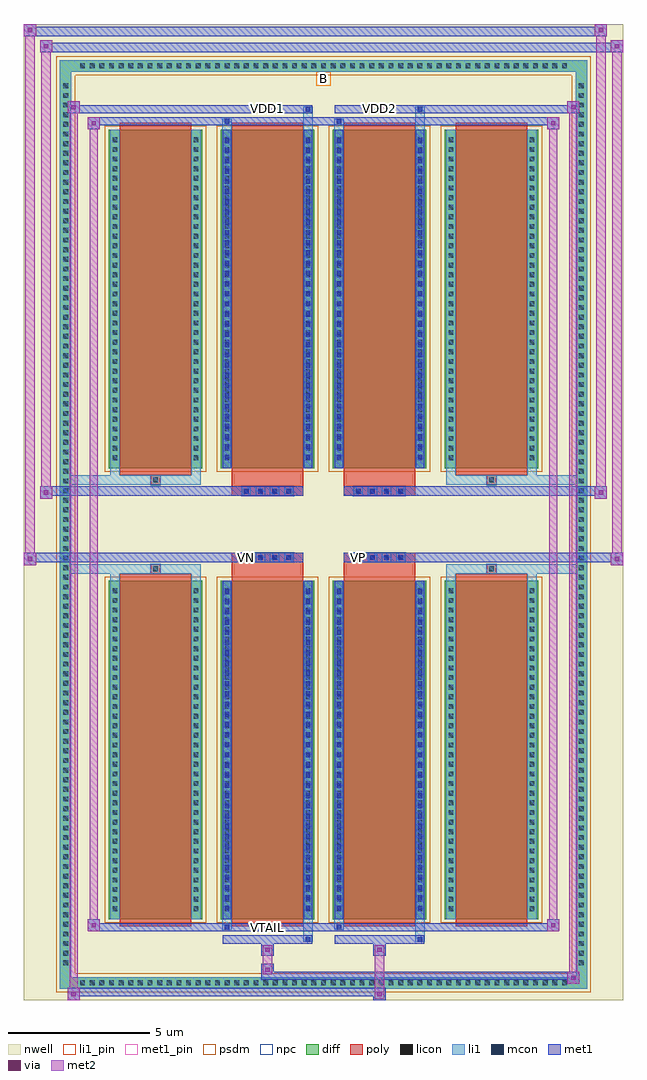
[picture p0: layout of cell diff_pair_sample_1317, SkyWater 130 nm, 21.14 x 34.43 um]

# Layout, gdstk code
import gdstk
lib = gdstk.Library(unit=1e-6, precision=5e-09)
def R(c, l, rs):  # rectangles x0, y0, x1, y1
    for r in rs: c.add(gdstk.rectangle(r[:2], r[2:], *l))
def A(c, l, x, y, w, h, nx, ny, dx, dy):  # array of equal rectangles
    R(c, l, [(x+i*dx, y+j*dy, x+i*dx+w, y+j*dy+h) for i in range(nx) for j in range(ny)])
def P(c, l, *ps):  # polygons
    for p in ps: c.add(gdstk.Polygon(p, *l))
nwell = (64, 20)
diff = (65, 20)
poly = (66, 20)
licon = (66, 44)
li1_pin = (67, 16)
li1 = (67, 20)
mcon = (67, 44)
met1_pin = (68, 16)
met1 = (68, 20)
via = (68, 44)
met2 = (69, 20)
psdm = (94, 20)
npc = (95, 20)

diff_pair_sample_1317 = lib.new_cell('diff_pair_sample_1317')
R(diff_pair_sample_1317, nwell, [(-10.57,-16.78,10.57,17.65), (-7.89,-14.97,-0.01,-0.805), (0.01,-14.97,7.89,-0.805), (-7.89,0.805,-0.01,14.97), (0.01,0.805,7.89,14.97)])
A(diff_pair_sample_1317, diff, -8.705, -16.38, 0.41, 0.41, 51, 2, 0.34, 32.35)
A(diff_pair_sample_1317, diff, -9.3, -15.675, 0.41, 0.41, 1, 92, 0, 0.34)
A(diff_pair_sample_1317, diff, 8.89, -15.675, 0.41, 0.41, 1, 92, 0, 0.34)
A(diff_pair_sample_1317, diff, -7.58, -13.925, 3.31, 11.94, 4, 2, 3.95, 15.91)
R(diff_pair_sample_1317, diff, [(-8.705,-16.38,8.705,-15.97), (-9.3,-15.675,-8.89,15.675), (8.89,-15.675,9.3,15.675), (-8.705,15.97,8.705,16.38)])
P(diff_pair_sample_1317, diff, [(9.3,16.38),(-9.3,16.38),(-9.3,-15.97),(-8.89,-15.97),(-8.89,15.97),(8.89,15.97),(8.89,-15.97),(-8.89,-15.97),(-9.3,-15.97),(-9.3,-16.38),(9.3,-16.38)])
A(diff_pair_sample_1317, poly, -7.19, -14.175, 2.53, 12.44, 4, 2, 3.95, 15.91)
A(diff_pair_sample_1317, poly, -2.89, -1.335, 0.33, 0.33, 4, 2, 0.5, 2.34)
A(diff_pair_sample_1317, poly, 1.06, -1.335, 0.33, 0.33, 4, 2, 0.5, 2.34)
R(diff_pair_sample_1317, poly, [(-6.09,-1.735,-5.76,-1.405), (-6.09,-1.735,-5.76,-1.405), (-3.24,-1.735,-0.71,-1.335), (0.71,-1.735,3.24,-1.335), (5.76,-1.735,6.09,-1.405), (5.76,-1.735,6.09,-1.405), (-3.24,-1.335,-0.71,-1.005), (0.71,-1.335,3.24,-1.005), (-3.24,1.005,-0.71,1.335), (0.71,1.005,3.24,1.335), (-3.24,1.335,-0.71,1.735), (0.71,1.335,3.24,1.735), (-6.09,1.405,-5.76,1.735), (-6.09,1.405,-5.76,1.735), (5.76,1.405,6.09,1.735), (5.76,1.405,6.09,1.735)])
A(diff_pair_sample_1317, licon, -8.585, -16.26, 0.17, 0.17, 51, 2, 0.34, 32.35)
A(diff_pair_sample_1317, licon, -9.18, -15.555, 0.17, 0.17, 1, 92, 0, 0.34)
A(diff_pair_sample_1317, licon, 9.01, -15.555, 0.17, 0.17, 1, 92, 0, 0.34)
A(diff_pair_sample_1317, licon, -7.44, -13.65, 0.17, 0.17, 1, 34, 0, 0.34)
A(diff_pair_sample_1317, licon, -4.58, -13.65, 0.17, 0.17, 1, 34, 0, 0.34)
A(diff_pair_sample_1317, licon, -3.49, -13.65, 0.17, 0.17, 1, 34, 0, 0.34)
A(diff_pair_sample_1317, licon, -0.63, -13.65, 0.17, 0.17, 1, 34, 0, 0.34)
A(diff_pair_sample_1317, licon, 0.46, -13.65, 0.17, 0.17, 1, 34, 0, 0.34)
A(diff_pair_sample_1317, licon, 3.32, -13.65, 0.17, 0.17, 1, 34, 0, 0.34)
A(diff_pair_sample_1317, licon, 4.41, -13.65, 0.17, 0.17, 1, 34, 0, 0.34)
A(diff_pair_sample_1317, licon, 7.27, -13.65, 0.17, 0.17, 1, 34, 0, 0.34)
A(diff_pair_sample_1317, licon, -2.81, -1.255, 0.17, 0.17, 4, 2, 0.5, 2.34)
A(diff_pair_sample_1317, licon, 1.14, -1.255, 0.17, 0.17, 4, 2, 0.5, 2.34)
A(diff_pair_sample_1317, licon, -7.44, 2.26, 0.17, 0.17, 1, 34, 0, 0.34)
A(diff_pair_sample_1317, licon, -4.58, 2.26, 0.17, 0.17, 1, 34, 0, 0.34)
A(diff_pair_sample_1317, licon, -3.49, 2.26, 0.17, 0.17, 1, 34, 0, 0.34)
A(diff_pair_sample_1317, licon, -0.63, 2.26, 0.17, 0.17, 1, 34, 0, 0.34)
A(diff_pair_sample_1317, licon, 0.46, 2.26, 0.17, 0.17, 1, 34, 0, 0.34)
A(diff_pair_sample_1317, licon, 3.32, 2.26, 0.17, 0.17, 1, 34, 0, 0.34)
A(diff_pair_sample_1317, licon, 4.41, 2.26, 0.17, 0.17, 1, 34, 0, 0.34)
A(diff_pair_sample_1317, licon, 7.27, 2.26, 0.17, 0.17, 1, 34, 0, 0.34)
R(diff_pair_sample_1317, licon, [(-6.01,-1.655,-5.84,-1.485), (5.84,-1.655,6.01,-1.485), (-6.01,1.485,-5.84,1.655), (5.84,1.485,6.01,1.655)])
R(diff_pair_sample_1317, li1_pin, [(-0.25,15.47,0.25,15.97)])
A(diff_pair_sample_1317, li1, -8.665, -16.34, 0.33, 0.33, 51, 2, 0.34, 32.35)
A(diff_pair_sample_1317, li1, -9.26, -15.635, 0.33, 0.33, 1, 92, 0, 0.34)
A(diff_pair_sample_1317, li1, 8.93, -15.635, 0.33, 0.33, 1, 92, 0, 0.34)
A(diff_pair_sample_1317, li1, -7.52, -13.73, 0.33, 0.33, 1, 34, 0, 0.34)
A(diff_pair_sample_1317, li1, -4.66, -13.73, 0.33, 0.33, 1, 34, 0, 0.34)
A(diff_pair_sample_1317, li1, -3.57, -13.73, 0.33, 0.33, 1, 34, 0, 0.34)
A(diff_pair_sample_1317, li1, -0.71, -13.73, 0.33, 0.33, 1, 34, 0, 0.34)
A(diff_pair_sample_1317, li1, 0.38, -13.73, 0.33, 0.33, 1, 34, 0, 0.34)
A(diff_pair_sample_1317, li1, 3.24, -13.73, 0.33, 0.33, 1, 34, 0, 0.34)
A(diff_pair_sample_1317, li1, 4.33, -13.73, 0.33, 0.33, 1, 34, 0, 0.34)
A(diff_pair_sample_1317, li1, 7.19, -13.73, 0.33, 0.33, 1, 34, 0, 0.34)
A(diff_pair_sample_1317, li1, -3.49, -13.62, 0.17, 0.17, 1, 32, 0, 0.36)
A(diff_pair_sample_1317, li1, -0.63, -13.62, 0.17, 0.17, 1, 32, 0, 0.36)
A(diff_pair_sample_1317, li1, 0.46, -13.62, 0.17, 0.17, 1, 32, 0, 0.36)
A(diff_pair_sample_1317, li1, 3.32, -13.62, 0.17, 0.17, 1, 32, 0, 0.36)
A(diff_pair_sample_1317, li1, -2.89, -1.335, 0.33, 0.33, 4, 2, 0.5, 2.34)
A(diff_pair_sample_1317, li1, 1.06, -1.335, 0.33, 0.33, 4, 2, 0.5, 2.34)
A(diff_pair_sample_1317, li1, -7.52, 2.18, 0.33, 0.33, 1, 34, 0, 0.34)
A(diff_pair_sample_1317, li1, -4.66, 2.18, 0.33, 0.33, 1, 34, 0, 0.34)
A(diff_pair_sample_1317, li1, -3.57, 2.18, 0.33, 0.33, 1, 34, 0, 0.34)
A(diff_pair_sample_1317, li1, -0.71, 2.18, 0.33, 0.33, 1, 34, 0, 0.34)
A(diff_pair_sample_1317, li1, 0.38, 2.18, 0.33, 0.33, 1, 34, 0, 0.34)
A(diff_pair_sample_1317, li1, 3.24, 2.18, 0.33, 0.33, 1, 34, 0, 0.34)
A(diff_pair_sample_1317, li1, 4.33, 2.18, 0.33, 0.33, 1, 34, 0, 0.34)
A(diff_pair_sample_1317, li1, 7.19, 2.18, 0.33, 0.33, 1, 34, 0, 0.34)
A(diff_pair_sample_1317, li1, -3.49, 2.29, 0.17, 0.17, 1, 32, 0, 0.36)
A(diff_pair_sample_1317, li1, -0.63, 2.29, 0.17, 0.17, 1, 32, 0, 0.36)
A(diff_pair_sample_1317, li1, 0.46, 2.29, 0.17, 0.17, 1, 32, 0, 0.36)
A(diff_pair_sample_1317, li1, 3.32, 2.29, 0.17, 0.17, 1, 32, 0, 0.36)
R(diff_pair_sample_1317, li1, [(-9.3,-16.38,-8.89,-15.97), (-9.3,-16.38,-8.89,-15.97), (-8.89,-16.38,8.89,-15.97), (8.89,-16.38,9.3,-15.97), (8.89,-16.38,9.3,-15.97), (-9.3,-15.97,-8.89,15.97), (8.89,-15.97,9.3,15.97), (-0.71,-14.73,-0.38,-13.925), (-0.63,-14.73,-0.46,-14.56), (3.24,-14.73,3.57,-13.925), (3.32,-14.73,3.49,-14.56), (-3.57,-14.3,-3.24,-13.925), (-3.49,-14.3,-3.32,-14.13), (0.38,-14.3,0.71,-13.925), (0.46,-14.3,0.63,-14.13), (-7.52,-13.925,-7.19,-1.985), (-4.66,-13.925,-4.33,-1.985), (-3.57,-13.925,-3.24,-1.985), (-0.71,-13.925,-0.38,-1.985), (0.38,-13.925,0.71,-1.985), (3.24,-13.925,3.57,-1.985), (4.33,-13.925,4.66,-1.985), (7.19,-13.925,7.52,-1.985), (-3.49,-13.62,-3.32,-2.29), (-0.63,-13.62,-0.46,-2.29), (0.46,-13.62,0.63,-2.29), (3.32,-13.62,3.49,-2.29), (-7.52,-1.985,-7.19,-1.405), (-4.66,-1.985,-4.33,-1.405), (4.33,-1.985,4.66,-1.405), (7.19,-1.985,7.52,-1.405), (-9.3,-1.735,-6.09,-1.405), (-7.52,-1.735,-6.09,-1.405), (-6.09,-1.735,-5.76,-1.405), (-5.76,-1.735,-4.33,-1.405), (4.33,-1.735,5.76,-1.405), (5.76,-1.735,6.09,-1.405), (5.76,-1.735,9.3,-1.405), (6.09,-1.735,7.52,-1.405), (-9.3,1.405,-6.09,1.735), (-7.52,1.405,-6.09,1.735), (-7.52,1.405,-7.19,1.985), (-6.09,1.405,-5.76,1.735), (-5.76,1.405,-4.33,1.735), (-4.66,1.405,-4.33,1.985), (4.33,1.405,5.76,1.735), (4.33,1.405,4.66,1.985), (5.76,1.405,6.09,1.735), (5.76,1.405,9.3,1.735), (6.09,1.405,7.52,1.735), (7.19,1.405,7.52,1.985), (-7.52,1.985,-7.19,13.925), (-4.66,1.985,-4.33,13.925), (-3.57,1.985,-3.24,13.925), (-0.71,1.985,-0.38,13.925), (0.38,1.985,0.71,13.925), (3.24,1.985,3.57,13.925), (4.33,1.985,4.66,13.925), (7.19,1.985,7.52,13.925), (-3.49,2.29,-3.32,13.62), (-0.63,2.29,-0.46,13.62), (0.46,2.29,0.63,13.62), (3.32,2.29,3.49,13.62), (-3.57,13.925,-3.24,14.3), (-0.71,13.925,-0.38,14.73), (0.38,13.925,0.71,14.3), (3.24,13.925,3.57,14.73), (-3.49,14.13,-3.32,14.3), (0.46,14.13,0.63,14.3), (-0.63,14.56,-0.46,14.73), (3.32,14.56,3.49,14.73), (-9.3,15.97,-8.89,16.38), (-9.3,15.97,-8.89,16.38), (-8.89,15.97,8.89,16.38), (8.89,15.97,9.3,16.38), (8.89,15.97,9.3,16.38)])
A(diff_pair_sample_1317, mcon, -3.49, -13.62, 0.17, 0.17, 1, 32, 0, 0.36)
A(diff_pair_sample_1317, mcon, -0.63, -13.62, 0.17, 0.17, 1, 32, 0, 0.36)
A(diff_pair_sample_1317, mcon, 0.46, -13.62, 0.17, 0.17, 1, 32, 0, 0.36)
A(diff_pair_sample_1317, mcon, 3.32, -13.62, 0.17, 0.17, 1, 32, 0, 0.36)
A(diff_pair_sample_1317, mcon, -2.81, -1.255, 0.17, 0.17, 4, 2, 0.5, 2.34)
A(diff_pair_sample_1317, mcon, 1.14, -1.255, 0.17, 0.17, 4, 2, 0.5, 2.34)
A(diff_pair_sample_1317, mcon, -3.49, 2.29, 0.17, 0.17, 1, 32, 0, 0.36)
A(diff_pair_sample_1317, mcon, -0.63, 2.29, 0.17, 0.17, 1, 32, 0, 0.36)
A(diff_pair_sample_1317, mcon, 0.46, 2.29, 0.17, 0.17, 1, 32, 0, 0.36)
A(diff_pair_sample_1317, mcon, 3.32, 2.29, 0.17, 0.17, 1, 32, 0, 0.36)
R(diff_pair_sample_1317, mcon, [(-0.63,-14.73,-0.46,-14.56), (3.32,-14.73,3.49,-14.56), (-3.49,-14.3,-3.32,-14.13), (0.46,-14.3,0.63,-14.13), (-3.49,14.13,-3.32,14.3), (0.46,14.13,0.63,14.3), (-0.63,14.56,-0.46,14.73), (3.32,14.56,3.49,14.73)])
R(diff_pair_sample_1317, met1_pin, [(-2.11,-14.34,-1.84,-14.07), (-2.86,-1.295,-2.59,-1.025), (1.09,-1.295,1.36,-1.025), (-2.11,14.52,-1.84,14.79), (1.84,14.52,2.11,14.79)])
A(diff_pair_sample_1317, met1, -3.55, -13.68, 0.29, 0.29, 1, 32, 0, 0.36)
A(diff_pair_sample_1317, met1, -0.69, -13.68, 0.29, 0.29, 1, 32, 0, 0.36)
A(diff_pair_sample_1317, met1, 0.4, -13.68, 0.29, 0.29, 1, 32, 0, 0.36)
A(diff_pair_sample_1317, met1, 3.26, -13.68, 0.29, 0.29, 1, 32, 0, 0.36)
A(diff_pair_sample_1317, met1, -2.87, -1.315, 0.29, 0.29, 4, 2, 0.5, 2.34)
A(diff_pair_sample_1317, met1, 1.08, -1.315, 0.29, 0.29, 4, 2, 0.5, 2.34)
A(diff_pair_sample_1317, met1, -3.55, 2.23, 0.29, 0.29, 1, 32, 0, 0.36)
A(diff_pair_sample_1317, met1, -0.69, 2.23, 0.29, 0.29, 1, 32, 0, 0.36)
A(diff_pair_sample_1317, met1, 0.4, 2.23, 0.29, 0.29, 1, 32, 0, 0.36)
A(diff_pair_sample_1317, met1, 3.26, 2.23, 0.29, 0.29, 1, 32, 0, 0.36)
R(diff_pair_sample_1317, met1, [(-9.03,-16.78,-8.6,-16.35), (1.76,-16.78,2.19,-16.35), (-9.03,-16.64,2.19,-16.35), (8.6,-16.21,9.03,-15.78), (-2.19,-16.07,9.03,-15.78), (-2.19,-15.93,-1.76,-15.5), (-2.19,-15.22,-1.76,-14.79), (1.76,-15.22,2.19,-14.79), (-3.55,-14.79,-0.4,-14.5), (-0.69,-14.79,-0.4,-14.5), (0.4,-14.79,3.55,-14.5), (3.26,-14.79,3.55,-14.5), (-8.32,-14.36,-7.89,-13.93), (-8.32,-14.36,-3.55,-14.07), (-3.55,-14.36,-3.26,-14.07), (-3.55,-14.36,-0.4,-14.07), (-0.4,-14.36,0.4,-14.07), (0.4,-14.36,0.69,-14.07), (0.4,-14.36,3.55,-14.07), (3.55,-14.36,8.32,-14.07), (7.89,-14.36,8.32,-13.93), (-3.55,-13.925,-3.26,-1.985), (-0.69,-13.925,-0.4,-1.985), (0.4,-13.925,0.69,-1.985), (3.26,-13.925,3.55,-1.985), (-10.57,-1.435,-10.14,-1.005), (10.14,-1.435,10.57,-1.005), (-10.57,-1.335,-0.71,-1.005), (-3.24,-1.335,-0.71,-1.005), (0.71,-1.335,3.24,-1.005), (0.71,-1.335,10.57,-1.005), (-10,0.905,-9.57,1.335), (9.57,0.905,10,1.335), (-10,1.005,-3.24,1.335), (-3.24,1.005,-0.71,1.335), (0.71,1.005,3.24,1.335), (3.24,1.005,10,1.335), (-3.55,1.985,-3.26,13.925), (-0.69,1.985,-0.4,13.925), (0.4,1.985,0.69,13.925), (3.26,1.985,3.55,13.925), (-8.32,13.93,-7.89,14.36), (7.89,13.93,8.32,14.36), (-8.32,14.07,-3.55,14.36), (-3.55,14.07,-3.26,14.36), (-3.55,14.07,-0.4,14.36), (-0.4,14.07,0.4,14.36), (0.4,14.07,0.69,14.36), (0.4,14.07,3.55,14.36), (3.55,14.07,8.32,14.36), (-9.03,14.5,-8.6,14.93), (-9.03,14.5,-3.55,14.79), (-3.55,14.5,-0.4,14.79), (-0.69,14.5,-0.4,14.79), (0.4,14.5,3.55,14.79), (3.26,14.5,3.55,14.79), (3.55,14.5,9.03,14.79), (8.6,14.5,9.03,14.93), (-10,16.65,-9.57,17.08), (-10,16.65,-7.89,16.98), (-7.89,16.65,7.89,16.98), (7.89,16.65,10.57,16.98), (10.14,16.65,10.57,17.08), (-10.57,17.22,-10.14,17.65), (-10.57,17.22,-7.89,17.55), (-7.89,17.22,7.89,17.55), (7.89,17.22,10,17.55), (9.57,17.22,10,17.65)])
R(diff_pair_sample_1317, via, [(-8.89,-16.64,-8.74,-16.49), (1.9,-16.64,2.05,-16.49), (8.74,-16.07,8.89,-15.92), (-2.05,-15.79,-1.9,-15.64), (-2.05,-15.08,-1.9,-14.93), (1.9,-15.08,2.05,-14.93), (-8.18,-14.22,-8.03,-14.07), (8.03,-14.22,8.18,-14.07), (-10.43,-1.295,-10.28,-1.145), (10.28,-1.295,10.43,-1.145), (-9.86,1.045,-9.71,1.195), (9.71,1.045,9.86,1.195), (-8.18,14.07,-8.03,14.22), (8.03,14.07,8.18,14.22), (-8.89,14.64,-8.74,14.79), (8.74,14.64,8.89,14.79), (-9.86,16.79,-9.71,16.94), (10.28,16.79,10.43,16.94), (-10.43,17.36,-10.28,17.51), (9.71,17.36,9.86,17.51)])
R(diff_pair_sample_1317, met2, [(-9.03,-16.78,-8.6,-16.35), (-8.96,-16.78,-8.67,14.93), (-8.67,-16.78,-8.6,-16.35), (-8.98,-16.73,-8.65,-16.4), (1.81,-16.73,2.14,-16.4), (1.81,-16.4,2.14,-15.17), (8.6,-16.21,9.03,-15.78), (8.67,-16.21,8.96,14.93), (8.96,-16.21,9.03,-15.78), (8.65,-16.16,8.98,-15.83), (-2.14,-15.88,-1.81,-15.55), (-2.14,-15.55,-1.81,-15.17), (-2.14,-15.17,-1.81,-14.84), (1.81,-15.17,2.14,-14.84), (-8.32,-14.36,-7.89,-13.93), (-8.25,-14.36,-7.96,14.36), (-7.96,-14.36,-7.89,-13.93), (7.89,-14.36,8.32,-13.93), (7.96,-14.36,8.25,14.36), (8.25,-14.36,8.32,-13.93), (-8.27,-14.31,-7.94,-13.98), (7.94,-14.31,8.27,-13.98), (-10.57,-1.435,-10.14,-1.005), (-10.52,-1.435,-10.19,17.65), (-10.19,-1.435,-10.14,-1.005), (10.14,-1.435,10.57,-1.005), (10.19,-1.435,10.52,17.08), (10.52,-1.435,10.57,-1.005), (-10.52,-1.385,-10.19,-1.055), (10.19,-1.385,10.52,-1.055), (-10,0.905,-9.57,1.335), (-9.95,0.905,-9.62,17.08), (-9.62,0.905,-9.57,1.335), (9.57,0.905,10,1.335), (9.62,0.905,9.95,17.65), (9.95,0.905,10,1.335), (-9.95,0.955,-9.62,1.285), (9.62,0.955,9.95,1.285), (-8.32,13.93,-7.89,14.36), (-7.96,13.93,-7.89,14.36), (7.89,13.93,8.32,14.36), (8.25,13.93,8.32,14.36), (-8.27,13.98,-7.94,14.31), (7.94,13.98,8.27,14.31), (-9.03,14.5,-8.6,14.93), (-8.67,14.5,-8.6,14.93), (8.6,14.5,9.03,14.93), (8.96,14.5,9.03,14.93), (-8.98,14.55,-8.65,14.88), (8.65,14.55,8.98,14.88), (-10,16.65,-9.57,17.08), (-9.62,16.65,-9.57,17.08), (10.14,16.65,10.57,17.08), (10.52,16.65,10.57,17.08), (-9.95,16.7,-9.62,17.03), (10.19,16.7,10.52,17.03), (-10.57,17.22,-10.14,17.65), (-10.19,17.22,-10.14,17.65), (9.57,17.22,10,17.65), (9.95,17.22,10,17.65), (-10.52,17.27,-10.19,17.6), (9.62,17.27,9.95,17.6)])
A(diff_pair_sample_1317, psdm, -7.71, -14.055, 3.57, 12.2, 4, 2, 3.95, 15.91)
P(diff_pair_sample_1317, psdm, [(9.43,16.51),(-9.43,16.51),(-9.43,-15.84),(-8.76,-15.84),(-8.76,15.84),(8.76,15.84),(8.76,-15.84),(-8.76,-15.84),(-9.43,-15.84),(-9.43,-16.51),(9.43,-16.51)])
A(diff_pair_sample_1317, npc, -2.91, -1.355, 0.37, 0.37, 4, 2, 0.5, 2.34)
A(diff_pair_sample_1317, npc, 1.04, -1.355, 0.37, 0.37, 4, 2, 0.5, 2.34)
R(diff_pair_sample_1317, npc, [(-6.11,-1.755,-5.74,-1.385), (5.74,-1.755,6.11,-1.385), (-2.91,-1.355,-2.04,-0.985), (-2.91,-1.355,-2.04,-0.985), (-2.41,-1.355,-1.54,-0.985), (-2.41,-1.355,-1.54,-0.985), (-1.91,-1.355,-1.04,-0.985), (-1.91,-1.355,-1.04,-0.985), (1.04,-1.355,1.91,-0.985), (1.04,-1.355,1.91,-0.985), (1.54,-1.355,2.41,-0.985), (1.54,-1.355,2.41,-0.985), (2.04,-1.355,2.91,-0.985), (2.04,-1.355,2.91,-0.985), (-2.91,0.985,-2.04,1.355), (-2.91,0.985,-2.04,1.355), (-2.41,0.985,-1.54,1.355), (-2.41,0.985,-1.54,1.355), (-1.91,0.985,-1.04,1.355), (-1.91,0.985,-1.04,1.355), (1.04,0.985,1.91,1.355), (1.04,0.985,1.91,1.355), (1.54,0.985,2.41,1.355), (1.54,0.985,2.41,1.355), (2.04,0.985,2.91,1.355), (2.04,0.985,2.91,1.355), (-6.11,1.385,-5.74,1.755), (5.74,1.385,6.11,1.755)])
diff_pair_sample_1317.add(gdstk.Label('VTAIL', (-1.975,-14.205), layer=68, texttype=5))
diff_pair_sample_1317.add(gdstk.Label('VN', (-2.725,-1.16), layer=68, texttype=5))
diff_pair_sample_1317.add(gdstk.Label('VP', (1.225,-1.16), layer=68, texttype=5))
diff_pair_sample_1317.add(gdstk.Label('B', (0,15.72), layer=67, texttype=5))
diff_pair_sample_1317.add(gdstk.Label('VDD2', (1.975,14.655), layer=68, texttype=5))
diff_pair_sample_1317.add(gdstk.Label('VDD1', (-1.975,14.655), layer=68, texttype=5))

lib.write_gds('diff_pair_sample_1317.gds')
